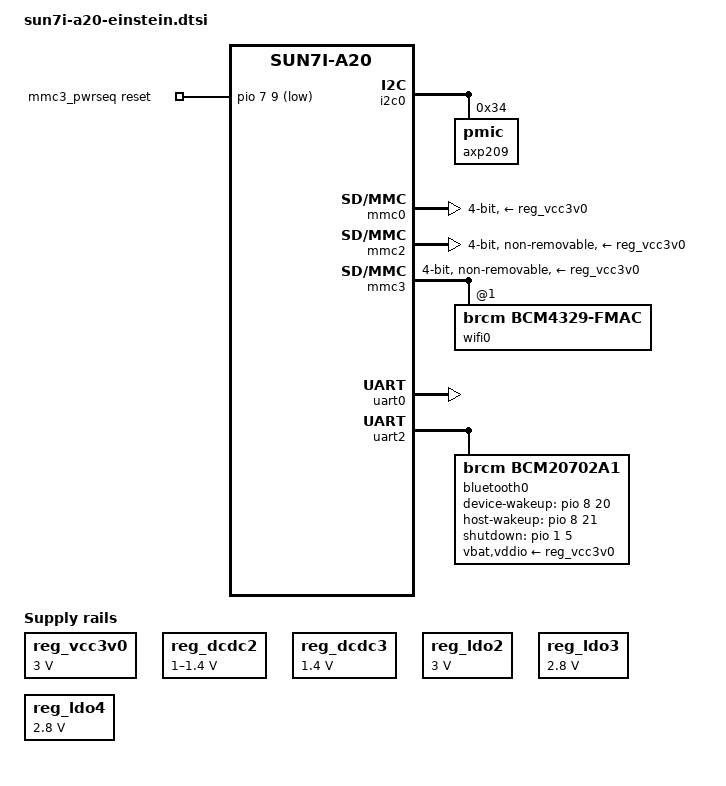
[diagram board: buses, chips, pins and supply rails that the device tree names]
/*
 * Copyright (C) 2018 Mans Rullgard <mans@mansr.com>
 *
 * This file is dual-licensed: you can use it either under the terms
 * of the GPL or the X11 license, at your option. Note that this dual
 * licensing only applies to this file, and not this project as a
 * whole.
 *
 *  a) This file is free software; you can redistribute it and/or
 *     modify it under the terms of the GNU General Public License as
 *     published by the Free Software Foundation; either version 2 of the
 *     License, or (at your option) any later version.
 *
 *     This file is distributed in the hope that it will be useful,
 *     but WITHOUT ANY WARRANTY; without even the implied warranty of
 *     MERCHANTABILITY or FITNESS FOR A PARTICULAR PURPOSE.  See the
 *     GNU General Public License for more details.
 *
 * Or, alternatively,
 *
 *  b) Permission is hereby granted, free of charge, to any person
 *     obtaining a copy of this software and associated documentation
 *     files (the "Software"), to deal in the Software without
 *     restriction, including without limitation the rights to use,
 *     copy, modify, merge, publish, distribute, sublicense, and/or
 *     sell copies of the Software, and to permit persons to whom the
 *     Software is furnished to do so, subject to the following
 *     conditions:
 *
 *     The above copyright notice and this permission notice shall be
 *     included in all copies or substantial portions of the Software.
 *
 *     THE SOFTWARE IS PROVIDED "AS IS", WITHOUT WARRANTY OF ANY KIND,
 *     EXPRESS OR IMPLIED, INCLUDING BUT NOT LIMITED TO THE WARRANTIES
 *     OF MERCHANTABILITY, FITNESS FOR A PARTICULAR PURPOSE AND
 *     NONINFRINGEMENT. IN NO EVENT SHALL THE AUTHORS OR COPYRIGHT
 *     HOLDERS BE LIABLE FOR ANY CLAIM, DAMAGES OR OTHER LIABILITY,
 *     WHETHER IN AN ACTION OF CONTRACT, TORT OR OTHERWISE, ARISING
 *     FROM, OUT OF OR IN CONNECTION WITH THE SOFTWARE OR THE USE OR
 *     OTHER DEALINGS IN THE SOFTWARE.
 */

#include "sun7i-a20.dtsi"

#include <dt-bindings/gpio/gpio.h>
#include <dt-bindings/pinctrl/sun4i-a10.h>

/ {
	compatible = "cubietech,einstein", "allwinner,sun7i-a20";

	aliases {
		serial0 = &uart0;
		serial1 = &uart1;
		serial2 = &uart2;
		serial3 = &uart3;
		serial4 = &uart4;
		serial5 = &uart5;
		serial6 = &uart6;
		serial7 = &uart7;
		i2c0 = &i2c0;
		i2c1 = &i2c1;
		i2c2 = &i2c2;
		i2c3 = &i2c3;
		mmc0 = &mmc0;
		mmc1 = &mmc2;
	};

	chosen {
		stdout-path = "serial0:115200n8";
	};

	mmc3_pwrseq: mmc3_pwrseq {
		compatible = "mmc-pwrseq-simple";
		reset-gpios = <&pio 7 9 GPIO_ACTIVE_LOW>; /* PH9 */
	};

	reg_vcc3v0: vcc3v0 {
		compatible = "regulator-fixed";
		regulator-name = "vcc3v0";
		regulator-min-microvolt = <3000000>;
		regulator-max-microvolt = <3000000>;
	};
};

&ccu {
	assigned-clocks = <&ccu CLK_OUT_A>;
	assigned-clock-parents = <&osc32k>;
};

&cpu0 {
	cpu-supply = <&reg_dcdc2>;
};

&i2c0 {
	status = "okay";

	axp209: pmic@34 {
		reg = <0x34>;
		interrupt-parent = <&nmi_intc>;
		interrupts = <0 IRQ_TYPE_LEVEL_LOW>;
	};
};

&mmc0 {
	vmmc-supply = <&reg_vcc3v0>;
	bus-width = <4>;
};

&mmc2 {
	vmmc-supply = <&reg_vcc3v0>;
	bus-width = <4>;
	non-removable;
	status = "okay";
};

&mmc3 {
	vmmc-supply = <&reg_vcc3v0>;
	mmc-pwrseq = <&mmc3_pwrseq>;
	bus-width = <4>;
	non-removable;

	wifi0: wifi@1 {
		reg = <1>;
		compatible = "brcm,bcm4329-fmac";
	};
};

&pio {
	pinctrl-names = "default";
	pinctrl-0 = <&clk_out_a_pin>;
	vcc-pa-supply = <&reg_vcc3v0>;
	vcc-pc-supply = <&reg_vcc3v0>;
	vcc-pe-supply = <&reg_ldo3>;
	vcc-pf-supply = <&reg_vcc3v0>;
	vcc-pg-supply = <&reg_ldo3>;
};

&uart0 {
	pinctrl-names = "default";
	pinctrl-0 = <&uart0_pb_pins>;
	status = "okay";
};

&uart2 {
	pinctrl-names = "default";
	pinctrl-0 = <&uart2_pi_pins>, <&uart2_cts_rts_pi_pins>;
	uart-has-rtscts;
	status = "okay";

	bluetooth0: bluetooth {
		compatible = "brcm,bcm20702a1";
		clocks = <&ccu CLK_OUT_A>;
		clock-names = "lpo";
		device-wakeup-gpios = <&pio 8 20 GPIO_ACTIVE_HIGH>; /* PI20 */
		host-wakeup-gpios = <&pio 8 21 GPIO_ACTIVE_HIGH>; /* PI21 */
		shutdown-gpios = <&pio 1 5 GPIO_ACTIVE_HIGH>; /* PB5 */
		max-speed = <115200>;
		vbat-supply = <&reg_vcc3v0>;
		vddio-supply = <&reg_vcc3v0>;
	};
};

#include "axp209.dtsi"

&reg_dcdc2 {
	regulator-always-on;
	regulator-min-microvolt = <1000000>;
	regulator-max-microvolt = <1400000>;
	regulator-name = "vdd-cpu";
};

&reg_dcdc3 {
	regulator-always-on;
	regulator-min-microvolt = <1400000>;
	regulator-max-microvolt = <1400000>;
	regulator-name = "vdd-sys";
};

&reg_ldo1 {
	regulator-name = "vdd-rtc";
};

&reg_ldo2 {
	regulator-always-on;
	regulator-min-microvolt = <3000000>;
	regulator-max-microvolt = <3000000>;
	regulator-name = "avcc";
};

&reg_ldo3 {
	regulator-min-microvolt = <2800000>;
	regulator-max-microvolt = <2800000>;
};

&reg_ldo4 {
	regulator-min-microvolt = <2800000>;
	regulator-max-microvolt = <2800000>;
};
